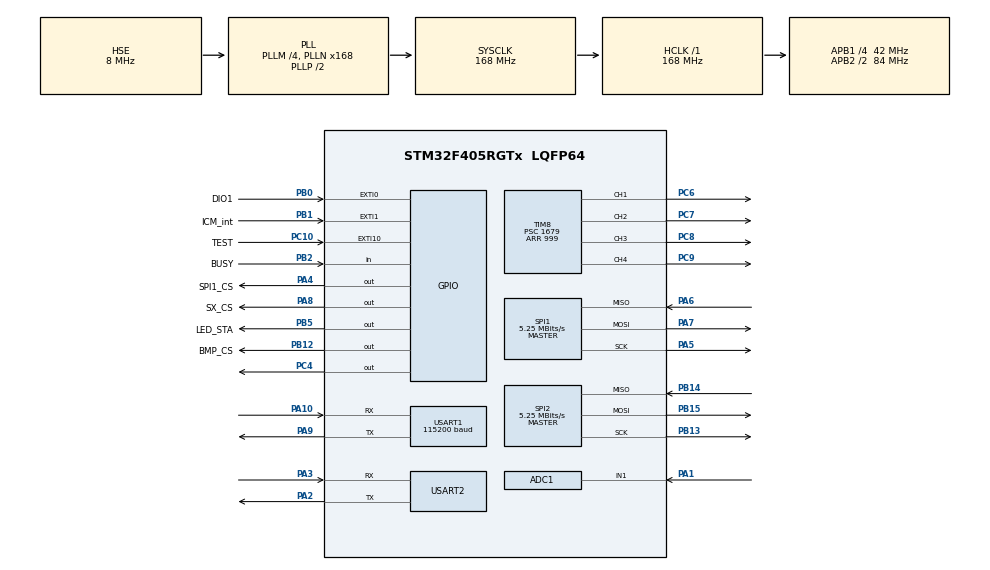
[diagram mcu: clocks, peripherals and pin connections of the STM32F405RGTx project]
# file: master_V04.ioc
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ADC1.Channel-0\#ChannelRegularConversion=ADC_CHANNEL_1
ADC1.ClockPrescaler=ADC_CLOCK_SYNC_PCLK_DIV4
ADC1.NbrOfConversion=1
ADC1.NbrOfConversionFlag=1
ADC1.Rank-0\#ChannelRegularConversion=1
ADC1.SamplingTime-0\#ChannelRegularConversion=ADC_SAMPLETIME_3CYCLES
ADC1.master=1
Dma.ADC1.8.Direction=DMA_PERIPH_TO_MEMORY
Dma.ADC1.8.FIFOMode=DMA_FIFOMODE_DISABLE
Dma.ADC1.8.Instance=DMA2_Stream4
Dma.ADC1.8.MemDataAlignment=DMA_MDATAALIGN_HALFWORD
Dma.ADC1.8.MemInc=DMA_MINC_ENABLE
Dma.ADC1.8.Mode=DMA_CIRCULAR
Dma.ADC1.8.PeriphDataAlignment=DMA_PDATAALIGN_HALFWORD
Dma.ADC1.8.PeriphInc=DMA_PINC_DISABLE
Dma.ADC1.8.Priority=DMA_PRIORITY_LOW
Dma.Request0=SPI1_TX
Dma.Request1=SPI1_RX
Dma.Request2=USART2_TX
Dma.Request3=USART2_RX
Dma.Request4=USART1_RX
Dma.Request5=USART1_TX
Dma.Request6=SPI2_TX
Dma.Request7=SPI2_RX
Dma.Request8=ADC1
Dma.SPI1_RX.1.Direction=DMA_PERIPH_TO_MEMORY
Dma.SPI1_RX.1.FIFOMode=DMA_FIFOMODE_DISABLE
Dma.SPI1_RX.1.Instance=DMA2_Stream0
Dma.SPI1_RX.1.MemDataAlignment=DMA_MDATAALIGN_BYTE
Dma.SPI1_RX.1.MemInc=DMA_MINC_ENABLE
Dma.SPI1_RX.1.Mode=DMA_NORMAL
Dma.SPI1_RX.1.PeriphDataAlignment=DMA_PDATAALIGN_BYTE
Dma.SPI1_RX.1.PeriphInc=DMA_PINC_DISABLE
Dma.SPI1_RX.1.Priority=DMA_PRIORITY_LOW
Dma.SPI1_TX.0.Direction=DMA_MEMORY_TO_PERIPH
Dma.SPI1_TX.0.FIFOMode=DMA_FIFOMODE_DISABLE
Dma.SPI1_TX.0.Instance=DMA2_Stream3
Dma.SPI1_TX.0.MemDataAlignment=DMA_MDATAALIGN_BYTE
Dma.SPI1_TX.0.MemInc=DMA_MINC_ENABLE
Dma.SPI1_TX.0.Mode=DMA_NORMAL
Dma.SPI1_TX.0.PeriphDataAlignment=DMA_PDATAALIGN_BYTE
Dma.SPI1_TX.0.PeriphInc=DMA_PINC_DISABLE
Dma.SPI1_TX.0.Priority=DMA_PRIORITY_LOW
Dma.SPI2_RX.7.Direction=DMA_PERIPH_TO_MEMORY
Dma.SPI2_RX.7.FIFOMode=DMA_FIFOMODE_DISABLE
Dma.SPI2_RX.7.Instance=DMA1_Stream3
Dma.SPI2_RX.7.MemDataAlignment=DMA_MDATAALIGN_BYTE
Dma.SPI2_RX.7.MemInc=DMA_MINC_ENABLE
Dma.SPI2_RX.7.Mode=DMA_NORMAL
Dma.SPI2_RX.7.PeriphDataAlignment=DMA_PDATAALIGN_BYTE
Dma.SPI2_RX.7.PeriphInc=DMA_PINC_DISABLE
Dma.SPI2_RX.7.Priority=DMA_PRIORITY_LOW
Dma.SPI2_TX.6.Direction=DMA_MEMORY_TO_PERIPH
Dma.SPI2_TX.6.FIFOMode=DMA_FIFOMODE_DISABLE
Dma.SPI2_TX.6.Instance=DMA1_Stream4
Dma.SPI2_TX.6.MemDataAlignment=DMA_MDATAALIGN_BYTE
Dma.SPI2_TX.6.MemInc=DMA_MINC_ENABLE
Dma.SPI2_TX.6.Mode=DMA_NORMAL
Dma.SPI2_TX.6.PeriphDataAlignment=DMA_PDATAALIGN_BYTE
Dma.SPI2_TX.6.PeriphInc=DMA_PINC_DISABLE
Dma.SPI2_TX.6.Priority=DMA_PRIORITY_LOW
Dma.USART1_RX.4.Direction=DMA_PERIPH_TO_MEMORY
Dma.USART1_RX.4.FIFOMode=DMA_FIFOMODE_DISABLE
Dma.USART1_RX.4.Instance=DMA2_Stream2
Dma.USART1_RX.4.MemDataAlignment=DMA_MDATAALIGN_BYTE
Dma.USART1_RX.4.MemInc=DMA_MINC_ENABLE
Dma.USART1_RX.4.Mode=DMA_CIRCULAR
Dma.USART1_RX.4.PeriphDataAlignment=DMA_PDATAALIGN_BYTE
Dma.USART1_RX.4.PeriphInc=DMA_PINC_DISABLE
Dma.USART1_RX.4.Priority=DMA_PRIORITY_LOW
Dma.USART1_TX.5.Direction=DMA_MEMORY_TO_PERIPH
Dma.USART1_TX.5.FIFOMode=DMA_FIFOMODE_DISABLE
Dma.USART1_TX.5.Instance=DMA2_Stream7
Dma.USART1_TX.5.MemDataAlignment=DMA_MDATAALIGN_BYTE
Dma.USART1_TX.5.MemInc=DMA_MINC_ENABLE
Dma.USART1_TX.5.Mode=DMA_NORMAL
Dma.USART1_TX.5.PeriphDataAlignment=DMA_PDATAALIGN_BYTE
Dma.USART1_TX.5.PeriphInc=DMA_PINC_DISABLE
Dma.USART1_TX.5.Priority=DMA_PRIORITY_LOW
Dma.USART2_RX.3.Direction=DMA_PERIPH_TO_MEMORY
Dma.USART2_RX.3.FIFOMode=DMA_FIFOMODE_DISABLE
Dma.USART2_RX.3.Instance=DMA1_Stream5
Dma.USART2_RX.3.MemDataAlignment=DMA_MDATAALIGN_BYTE
Dma.USART2_RX.3.MemInc=DMA_MINC_ENABLE
Dma.USART2_RX.3.Mode=DMA_CIRCULAR
Dma.USART2_RX.3.PeriphDataAlignment=DMA_PDATAALIGN_BYTE
Dma.USART2_RX.3.PeriphInc=DMA_PINC_DISABLE
Dma.USART2_RX.3.Priority=DMA_PRIORITY_LOW
Dma.USART2_TX.2.Direction=DMA_MEMORY_TO_PERIPH
Dma.USART2_TX.2.FIFOMode=DMA_FIFOMODE_DISABLE
Dma.USART2_TX.2.Instance=DMA1_Stream6
Dma.USART2_TX.2.MemDataAlignment=DMA_MDATAALIGN_BYTE
Dma.USART2_TX.2.MemInc=DMA_MINC_ENABLE
Dma.USART2_TX.2.Mode=DMA_NORMAL
Dma.USART2_TX.2.PeriphDataAlignment=DMA_PDATAALIGN_BYTE
Dma.USART2_TX.2.PeriphInc=DMA_PINC_DISABLE
Dma.USART2_TX.2.Priority=DMA_PRIORITY_LOW
FREERTOS.INCLUDE_vTaskDelayUntil=1
FREERTOS.Tasks01=defaultTask,0,128,StartDefaultTask,Default,NULL,Dynamic,NULL,NULL;START_TASK,0,300,startTask,Default,NULL,Dynamic,NULL,NULL
FREERTOS.configQUEUE_REGISTRY_SIZE=8
FREERTOS.configUSE_COUNTING_SEMAPHORES=1
FREERTOS.configUSE_RECURSIVE_MUTEXES=1
FREERTOS.configUSE_TIMERS=0
Mcu.Family=STM32F4
Mcu.Name=STM32F405RGTx
Mcu.Package=LQFP64
NVIC.ADC_IRQn=true\:9\:0\:true\:false\:true\:true\:true\:true\:true
NVIC.DMA1_Stream3_IRQn=true\:5\:0\:false\:false\:true\:true\:false\:true\:true
NVIC.DMA1_Stream4_IRQn=true\:5\:0\:false\:false\:true\:true\:false\:true\:true
NVIC.DMA1_Stream5_IRQn=true\:5\:0\:false\:false\:true\:true\:false\:true\:true
NVIC.DMA1_Stream6_IRQn=true\:5\:0\:false\:false\:true\:true\:false\:true\:true
NVIC.DMA2_Stream0_IRQn=true\:5\:0\:false\:false\:true\:true\:false\:true\:true
NVIC.DMA2_Stream2_IRQn=true\:5\:0\:false\:false\:true\:true\:false\:true\:true
NVIC.DMA2_Stream3_IRQn=true\:5\:0\:false\:false\:true\:true\:false\:true\:true
NVIC.DMA2_Stream4_IRQn=true\:5\:0\:false\:false\:true\:true\:false\:true\:true
NVIC.DMA2_Stream7_IRQn=true\:5\:0\:false\:false\:true\:true\:false\:true\:true
NVIC.EXTI0_IRQn=true\:7\:0\:true\:false\:true\:true\:true\:true\:true
NVIC.EXTI1_IRQn=true\:6\:0\:true\:false\:true\:true\:true\:true\:true
NVIC.PriorityGroup=NVIC_PRIORITYGROUP_4
NVIC.SPI1_IRQn=true\:5\:0\:false\:false\:true\:true\:true\:true\:true
NVIC.SPI2_IRQn=true\:6\:0\:true\:false\:true\:true\:true\:true\:true
NVIC.TIM3_IRQn=true\:5\:0\:false\:false\:true\:true\:true\:true\:true
NVIC.TIM6_DAC_IRQn=true\:15\:0\:false\:false\:true\:false\:false\:true\:true
NVIC.TimeBase=TIM6_DAC_IRQn
NVIC.TimeBaseIP=TIM6
NVIC.USART1_IRQn=true\:10\:0\:true\:false\:true\:true\:true\:true\:true
NVIC.USART2_IRQn=true\:11\:0\:true\:false\:true\:true\:true\:true\:true
PA1.Signal=ADCx_IN1
PA10.Mode=Asynchronous
PA10.Signal=USART1_RX
PA13.Mode=Serial_Wire
PA13.Signal=SYS_JTMS-SWDIO
PA14.Mode=Serial_Wire
PA14.Signal=SYS_JTCK-SWCLK
PA2.Mode=Asynchronous
PA2.Signal=USART2_TX
PA3.Mode=Asynchronous
PA3.Signal=USART2_RX
PA4.GPIO_Label=SPI1_CS
PA4.GPIO_ModeDefaultOutputPP=GPIO_MODE_OUTPUT_OD
PA4.GPIO_PuPd=GPIO_NOPULL
PA4.PinState=GPIO_PIN_SET
PA4.Signal=GPIO_Output
PA5.Mode=Full_Duplex_Master
PA5.Signal=SPI1_SCK
PA6.Mode=Full_Duplex_Master
PA6.Signal=SPI1_MISO
PA7.Mode=Full_Duplex_Master
PA7.Signal=SPI1_MOSI
PA8.GPIO_Label=SX_CS
PA8.GPIO_Speed=GPIO_SPEED_FREQ_HIGH
PA8.PinState=GPIO_PIN_SET
PA8.Signal=GPIO_Output
PA9.Mode=Asynchronous
PA9.Signal=USART1_TX
PB0.GPIO_Label=DIO1
PB0.GPIO_PuPd=GPIO_PULLDOWN
PB0.Signal=GPXTI0
PB1.GPIO_Label=ICM_int
PB1.Signal=GPXTI1
PB12.GPIO_Label=BMP_CS
PB12.GPIO_ModeDefaultOutputPP=GPIO_MODE_OUTPUT_OD
PB12.GPIO_PuPd=GPIO_NOPULL
PB12.PinState=GPIO_PIN_SET
PB12.Signal=GPIO_Output
PB13.Mode=Full_Duplex_Master
PB13.Signal=SPI2_SCK
PB14.Mode=Full_Duplex_Master
PB14.Signal=SPI2_MISO
PB15.Mode=Full_Duplex_Master
PB15.Signal=SPI2_MOSI
PB2.GPIO_Label=BUSY
PB2.GPIO_PuPd=GPIO_PULLUP
PB2.Signal=GPIO_Input
PB5.GPIO_Label=LED_STA
PB5.Signal=GPIO_Output
PC10.GPIO_Label=TEST
PC10.Signal=GPXTI10
PC4.Signal=GPIO_Output
PC6.Signal=S_TIM8_CH1
PC7.Signal=S_TIM8_CH2
PC8.Signal=S_TIM8_CH3
PC9.Signal=S_TIM8_CH4
PH0-OSC_IN.Mode=HSE-External-Oscillator
PH0-OSC_IN.Signal=RCC_OSC_IN
PH1-OSC_OUT.Mode=HSE-External-Oscillator
PH1-OSC_OUT.Signal=RCC_OSC_OUT
ProjectManager.HeapSize=0x200
ProjectManager.StackSize=0x400
ProjectManager.TargetToolchain=MDK-ARM V5.32
RCC.48MHZClocksFreq_Value=84000000
RCC.AHBFreq_Value=168000000
RCC.APB1CLKDivider=RCC_HCLK_DIV4
RCC.APB1Freq_Value=42000000
RCC.APB1TimFreq_Value=84000000
RCC.APB2CLKDivider=RCC_HCLK_DIV2
RCC.APB2Freq_Value=84000000
RCC.APB2TimFreq_Value=168000000
RCC.CortexFreq_Value=168000000
RCC.HCLKFreq_Value=168000000
RCC.HSE_VALUE=8000000
RCC.HSI_VALUE=16000000
RCC.LSE_VALUE=32768
RCC.PLLM=4
RCC.PLLN=168
RCC.PLLSourceVirtual=RCC_PLLSOURCE_HSE
RCC.SYSCLKFreq_VALUE=168000000
RCC.SYSCLKSource=RCC_SYSCLKSOURCE_PLLCLK
RCC.VCOOutputFreq_Value=336000000
SH.ADCx_IN1.0=ADC1_IN1,IN1
SH.S_TIM8_CH1.0=TIM8_CH1,PWM Generation1 CH1
SH.S_TIM8_CH2.0=TIM8_CH2,PWM Generation2 CH2
SH.S_TIM8_CH3.0=TIM8_CH3,PWM Generation3 CH3
SH.S_TIM8_CH4.0=TIM8_CH4,PWM Generation4 CH4
SPI1.BaudRatePrescaler=SPI_BAUDRATEPRESCALER_16
SPI1.CLKPhase=SPI_PHASE_1EDGE
SPI1.CLKPolarity=SPI_POLARITY_LOW
SPI1.CalculateBaudRate=5.25 MBits/s
SPI1.Direction=SPI_DIRECTION_2LINES
SPI1.Mode=SPI_MODE_MASTER
SPI1.VirtualType=VM_MASTER
SPI2.BaudRatePrescaler=SPI_BAUDRATEPRESCALER_8
SPI2.CalculateBaudRate=5.25 MBits/s
SPI2.Direction=SPI_DIRECTION_2LINES
SPI2.Mode=SPI_MODE_MASTER
SPI2.VirtualType=VM_MASTER
TIM3.AutoReloadPreload=TIM_AUTORELOAD_PRELOAD_ENABLE
TIM3.Period=9
TIM3.Prescaler=8399
TIM8.Channel-PWM\ Generation1\ CH1=TIM_CHANNEL_1
TIM8.Channel-PWM\ Generation2\ CH2=TIM_CHANNEL_2
TIM8.Channel-PWM\ Generation3\ CH3=TIM_CHANNEL_3
TIM8.Channel-PWM\ Generation4\ CH4=TIM_CHANNEL_4
TIM8.Period=999
TIM8.Prescaler=1679
TIM8.Pulse-PWM\ Generation1\ CH1=500
TIM8.Pulse-PWM\ Generation2\ CH2=500
TIM8.Pulse-PWM\ Generation3\ CH3=500
USART1.BaudRate=115200
USART1.VirtualMode=VM_ASYNC
USART2.VirtualMode=VM_ASYNC
VP_FREERTOS_VS_CMSIS_V1.Mode=CMSIS_V1
VP_SYS_VS_tim6.Mode=TIM6
VP_TIM3_VS_ClockSourceINT.Mode=Internal
VP_TIM8_VS_ClockSourceINT.Mode=Internal
board=custom

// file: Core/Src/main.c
/* USER CODE BEGIN Header */
/**
  ******************************************************************************
  * @file           : main.c
  * @brief          : Main program body
  ******************************************************************************
  * @attention
  *
  * Copyright (c) 2025 STMicroelectronics.
  * All rights reserved.
  *
  * This software is licensed under terms that can be found in the LICENSE file
  * in the root directory of this software component.
  * If no LICENSE file comes with this software, it is provided AS-IS.
  *
  ******************************************************************************
  */
/* USER CODE END Header */
#include "main.h"
#include "cmsis_os.h"
#include "adc.h"
#include "dma.h"
#include "spi.h"
#include "tim.h"
#include "usart.h"
#include "gpio.h"

/* USER CODE BEGIN Includes */
#include "global.h"
/* USER CODE END Includes */

void SystemClock_Config(void);
void MX_FREERTOS_Init(void);

/* USER CODE BEGIN 0 */
float test_fpu(void)
{
		volatile float a = 1.23f;
		volatile float b = 4.56f;
		volatile float c;
    c = a * b + 1.0f;
		return c;
}
/* USER CODE END 0 */

int main(void)
{

  /* MCU Configuration--------------------------------------------------------*/

  /* Reset of all peripherals, Initializes the Flash interface and the Systick. */
  HAL_Init();

  /* Configure the system clock */
  SystemClock_Config();

  /* Initialize all configured peripherals */
  MX_GPIO_Init();
  MX_DMA_Init();
  MX_SPI1_Init();
  MX_TIM8_Init();
  MX_USART2_UART_Init();
  MX_USART1_UART_Init();
  MX_SPI2_Init();
  MX_ADC1_Init();
  MX_TIM3_Init();
  /* USER CODE BEGIN 2 */
	//test_fpu();//fpu
	my2printf("hello");
		//HAL_GPIO_WritePin(LED_STA_GPIO_Port,LED_STA_Pin,GPIO_PIN_SET);	//����ߵ�ƽ
  /* USER CODE END 2 */

  /* Call init function for freertos objects (in cmsis_os2.c) */
  MX_FREERTOS_Init();

  /* Start scheduler */
  osKernelStart();

  /* We should never get here as control is now taken by the scheduler */

  /* Infinite loop */
  while (1)
  {

  }
}

void SystemClock_Config(void)
{
  RCC_OscInitTypeDef RCC_OscInitStruct = {0};
  RCC_ClkInitTypeDef RCC_ClkInitStruct = {0};

  /** Configure the main internal regulator output voltage
  */
  __HAL_RCC_PWR_CLK_ENABLE();
  __HAL_PWR_VOLTAGESCALING_CONFIG(PWR_REGULATOR_VOLTAGE_SCALE1);

  /** Initializes the RCC Oscillators according to the specified parameters
  * in the RCC_OscInitTypeDef structure.
  */
  RCC_OscInitStruct.OscillatorType = RCC_OSCILLATORTYPE_HSE;
  RCC_OscInitStruct.HSEState = RCC_HSE_ON;
  RCC_OscInitStruct.PLL.PLLState = RCC_PLL_ON;
  RCC_OscInitStruct.PLL.PLLSource = RCC_PLLSOURCE_HSE;
  RCC_OscInitStruct.PLL.PLLM = 4;
  RCC_OscInitStruct.PLL.PLLN = 168;
  RCC_OscInitStruct.PLL.PLLP = RCC_PLLP_DIV2;
  RCC_OscInitStruct.PLL.PLLQ = 4;
  if (HAL_RCC_OscConfig(&RCC_OscInitStruct) != HAL_OK)
  {
    Error_Handler();
  }

  /** Initializes the CPU, AHB and APB buses clocks
  */
  RCC_ClkInitStruct.ClockType = RCC_CLOCKTYPE_HCLK|RCC_CLOCKTYPE_SYSCLK
                              |RCC_CLOCKTYPE_PCLK1|RCC_CLOCKTYPE_PCLK2;
  RCC_ClkInitStruct.SYSCLKSource = RCC_SYSCLKSOURCE_PLLCLK;
  RCC_ClkInitStruct.AHBCLKDivider = RCC_SYSCLK_DIV1;
  RCC_ClkInitStruct.APB1CLKDivider = RCC_HCLK_DIV4;
  RCC_ClkInitStruct.APB2CLKDivider = RCC_HCLK_DIV2;

  if (HAL_RCC_ClockConfig(&RCC_ClkInitStruct, FLASH_LATENCY_5) != HAL_OK)
  {
    Error_Handler();
  }
}

void HAL_TIM_PeriodElapsedCallback(TIM_HandleTypeDef *htim)
{
  if (htim->Instance == TIM6)
  {
    HAL_IncTick();
  }
  /* USER CODE BEGIN Callback 1 */
	if(htim->Instance == TIM3)
	{
			SX126xTimerIrqHandler();
	}
  /* USER CODE END Callback 1 */
}

void Error_Handler(void)
{
  __disable_irq();
  while (1)
  {
  }
}

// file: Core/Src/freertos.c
/* USER CODE BEGIN Header */
/**
  ******************************************************************************
  * File Name          : freertos.c
  * Description        : Code for freertos applications
  ******************************************************************************
  * @attention
  *
  * Copyright (c) 2025 STMicroelectronics.
  * All rights reserved.
  *
  * This software is licensed under terms that can be found in the LICENSE file
  * in the root directory of this software component.
  * If no LICENSE file comes with this software, it is provided AS-IS.
  *
  ******************************************************************************
  */
/* USER CODE END Header */

#include "FreeRTOS.h"
#include "task.h"
#include "main.h"
#include "cmsis_os.h"

/* USER CODE BEGIN Includes */
#include "global.h"
/* USER CODE END Includes */

/* USER CODE BEGIN PTD */
SemaphoreHandle_t  sensorsDataReady;
SemaphoreHandle_t  icmDataReady;
//SemaphoreHandle_t uart1Mutex;
SemaphoreHandle_t uart1TxDone;

xQueueHandle accelerometerDataQueue;
xQueueHandle barometerDataQueue;
xQueueHandle gyroDataQueue;
xQueueHandle stateDataQueue;
xQueueHandle sensorDataQueue;
xQueueHandle uartRxQueue;
xQueueHandle controlcommandDataQueue;
xQueueHandle rcctrlDataQueue;
/* USER CODE END PTD */

osThreadId defaultTaskHandle;
osThreadId START_TASKHandle;

void StartDefaultTask(void const * argument);
void startTask(void const * argument);

void MX_FREERTOS_Init(void); /* (MISRA C 2004 rule 8.1) */

/* GetIdleTaskMemory prototype (linked to static allocation support) */
void vApplicationGetIdleTaskMemory( StaticTask_t **ppxIdleTaskTCBBuffer, StackType_t **ppxIdleTaskStackBuffer, uint32_t *pulIdleTaskStackSize );

/* USER CODE BEGIN GET_IDLE_TASK_MEMORY */
static StaticTask_t xIdleTaskTCBBuffer;
static StackType_t xIdleStack[configMINIMAL_STACK_SIZE];

void vApplicationGetIdleTaskMemory( StaticTask_t **ppxIdleTaskTCBBuffer, StackType_t **ppxIdleTaskStackBuffer, uint32_t *pulIdleTaskStackSize )
{
  *ppxIdleTaskTCBBuffer = &xIdleTaskTCBBuffer;
  *ppxIdleTaskStackBuffer = &xIdleStack[0];
  *pulIdleTaskStackSize = configMINIMAL_STACK_SIZE;
  /* place for user code */
}
/* USER CODE END GET_IDLE_TASK_MEMORY */

void MX_FREERTOS_Init(void) {
  /* USER CODE BEGIN Init */
  sensorsDataReady = xSemaphoreCreateBinary();/*创建传感器数�?就绪二值信号量*/
  icmDataReady = xSemaphoreCreateBinary();
  //uart1Mutex = xSemaphoreCreateMutex();
  uart1TxDone = xSemaphoreCreateBinary();

	barometerDataQueue = xQueueCreate(1, sizeof(baro_t));
  accelerometerDataQueue = xQueueCreate(1, sizeof(Axis3f));
	gyroDataQueue = xQueueCreate(1, sizeof(Axis3f));
	sensorDataQueue = xQueueCreate(1, sizeof(sensorData_t));
	stateDataQueue = xQueueCreate(1, sizeof(state_t));
  uartRxQueue = xQueueCreate(1, sizeof(uart_frame_t));
  controlcommandDataQueue = xQueueCreate(1, sizeof(rc_ctrl_t));
	rcctrlDataQueue = xQueueCreate(1, sizeof(control_command_t));

  /* USER CODE END Init */

  /* Create the thread(s) */
  /* definition and creation of defaultTask */
  osThreadDef(defaultTask, StartDefaultTask, osPriorityNormal, 0, 128);
  defaultTaskHandle = osThreadCreate(osThread(defaultTask), NULL);

  /* definition and creation of START_TASK */
  osThreadDef(START_TASK, startTask, osPriorityNormal, 0, 300);
  START_TASKHandle = osThreadCreate(osThread(START_TASK), NULL);

}

void StartDefaultTask(void const * argument)
{
  for(;;)
  {
    osDelay(1);
  }
}

void startTask(void const * argument)
{
  /* USER CODE BEGIN startTask */
  taskENTER_CRITICAL();	/*½øÈëÁÙ½çÇø*/
  xTaskCreate(linkTxTask, "LINKTXTASK", 150, NULL, 3, NULL);    /*´´½¨½ÓÊÕÈÎÎñ*/
  //xTaskCreate(linkRxTask, "LINKRXTASK", 150, NULL, 2, NULL);
  xTaskCreate(sensorsTask, "SENSORS", 450, NULL, 4, NULL);			/*´´½¨´«¸ÐÆ÷´¦ÀíÈÎÎñ*/
	xTaskCreate(stabilizerTask, "STABILIZER", 450, NULL, 5, NULL);		/*������̬����*/
  //xTaskCreate(wirelessTxTask, "WIRELESSTXTASK", 150, NULL, 3, NULL);				/*´´½¨atkp·¢ËÍÈÎÎñÈÎÎñ*/
  //xTaskCreate(wirelessRxTask, "WIRELESSRXTASK", 300, NULL, 6, NULL);				/*´´½¨atkp·¢ËÍÈÎÎñÈÎÎñ*/
	xTaskCreate(wirelessTask, "WIRELESSTASK", 450, NULL, 6, NULL);
	//xTaskCreate(staTask, "STATASK", 100, NULL, 6, NULL);
  vTaskDelete(START_TASKHandle);										/*É¾³ý¿ªÊ¼ÈÎÎñ*/

  taskEXIT_CRITICAL();	/*ÍË³öÁÙ½çÇø*/
  /* Infinite loop */
  for(;;)
  {
    osDelay(1);
  }
  /* USER CODE END startTask */
}
